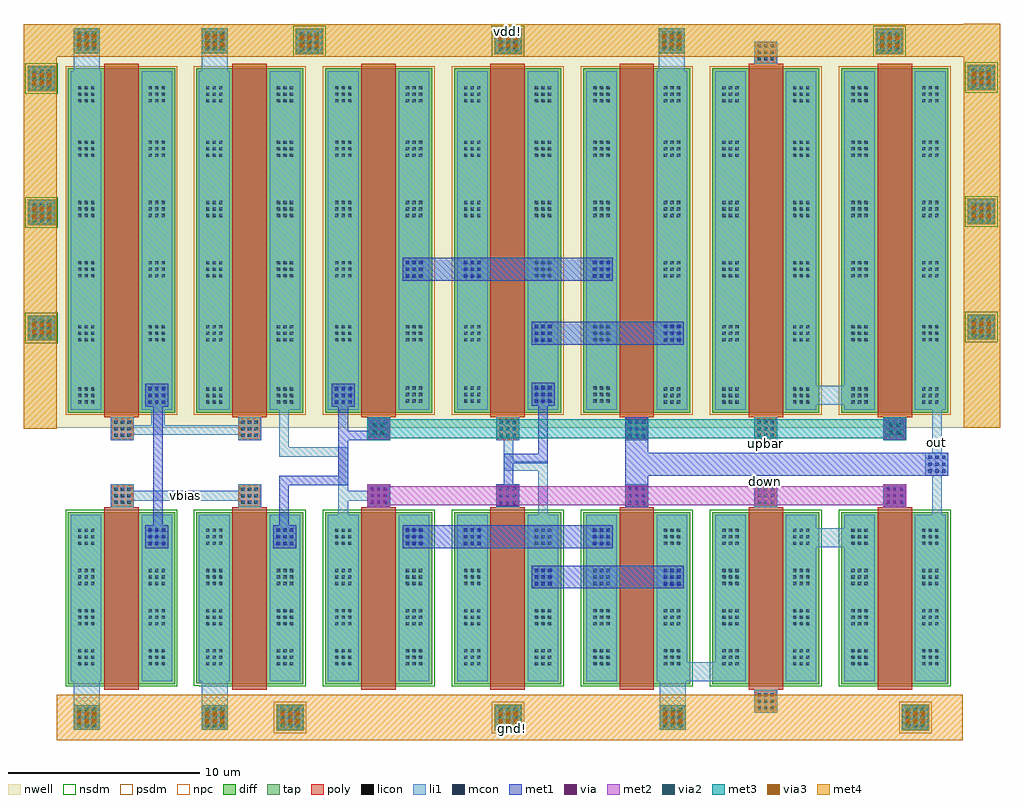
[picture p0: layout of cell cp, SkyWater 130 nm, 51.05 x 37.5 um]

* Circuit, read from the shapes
.subckt cp down gnd! out upbar vbias vdd!
XM1 n1 vbias gnd! gnd! sky130_fd_pr__nfet_01v8 w=9 l=1.8
XM2 n2 vbias gnd! gnd! sky130_fd_pr__nfet_01v8 w=9 l=1.8
XM3 n3 n4 n4 gnd! sky130_fd_pr__nfet_01v8 w=9 l=1.8
XM4 gnd! vdd! n3 gnd! sky130_fd_pr__nfet_01v8 w=9 l=1.8
XM5 gnd! out n3 gnd! sky130_fd_pr__nfet_01v8 w=9 l=1.8
XM6 n5 down gnd! gnd! sky130_fd_pr__nfet_01v8 w=9 l=1.8
XM7 out n4 n5 gnd! sky130_fd_pr__nfet_01v8 w=9 l=1.8
XM8 n1 n1 vdd! vdd! sky130_fd_pr__pfet_01v8 w=18 l=1.8
XM9 n4 n1 vdd! vdd! sky130_fd_pr__pfet_01v8 w=18 l=1.8
XM10 n6 n2 n2 vdd! sky130_fd_pr__pfet_01v8 w=18 l=1.8
XM11 vdd! gnd! n6 vdd! sky130_fd_pr__pfet_01v8 w=18 l=1.8
XM12 vdd! out n6 vdd! sky130_fd_pr__pfet_01v8 w=18 l=1.8
XM13 n7 upbar n8 vdd! sky130_fd_pr__pfet_01v8 w=18 l=1.8
XM14 out n2 n7 vdd! sky130_fd_pr__pfet_01v8 w=18 l=1.8
.ends

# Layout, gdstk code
import gdstk
lib = gdstk.Library(unit=1e-6, precision=1e-09)
def R(c, l, rs):  # rectangles x0, y0, x1, y1
    for r in rs: c.add(gdstk.rectangle(r[:2], r[2:], *l))
def A(c, l, x, y, w, h, nx, ny, dx, dy):  # array of equal rectangles
    R(c, l, [(x+i*dx, y+j*dy, x+i*dx+w, y+j*dy+h) for i in range(nx) for j in range(ny)])
nwell = (64, 20)
diff = (65, 20)
tap = (65, 44)
poly = (66, 20)
licon = (66, 44)
li1 = (67, 20)
mcon = (67, 44)
met1 = (68, 20)
via = (68, 44)
met2 = (69, 20)
via2 = (69, 44)
met3 = (70, 20)
via3 = (70, 44)
met4 = (71, 20)
nsdm = (93, 44)
psdm = (94, 20)
npc = (95, 20)

c_cp = lib.new_cell('cp')
R(c_cp, nwell, [(-4.15,-0.85,-2.45,-0.8), (-4.15,-0.8,46.9,20.3), (45,20.3,46.9,20.35)])
A(c_cp, diff, 11.6, -14.2, 5.6, 9, 5, 1, 6.75, 0)
A(c_cp, diff, 4.85, 0, 5.6, 18, 6, 1, 6.75, 0)
R(c_cp, diff, [(-1.85,-14.2,3.75,-5.2), (5.15,-14.2,10.45,-14.15), (4.85,-14.15,10.45,-5.2), (-1.85,0,3.75,18)])
R(c_cp, tap, [(9.05,-16.65,10.5,-15.25), (20.45,-16.65,21.9,-15.25), (41.75,-16.65,43.2,-15.25), (-3.95,3.75,-2.5,5.1), (45.2,3.8,46.65,5.15), (-3.95,9.8,-2.5,11.15), (45.2,9.85,46.65,11.2), (-3.95,16.8,-2.5,18.15), (45.2,16.85,46.65,18.2), (10.05,18.75,11.5,20.1), (20.45,18.75,21.9,20.1), (40.4,18.75,41.85,20.1)])
A(c_cp, poly, 6.75, -14.5, 1.8, 9.55, 6, 1, 6.75, 0)
A(c_cp, poly, 7.05, -4.95, 1.2, 1.2, 6, 2, 6.75, 3.5)
A(c_cp, poly, 6.75, -0.25, 1.8, 18.5, 6, 1, 6.75, 0)
R(c_cp, poly, [(34.05,-15.7,35.25,-14.5), (0.05,-14.5,1.85,-4.95), (0.4,-4.95,1.6,-3.75), (0.4,-1.45,1.6,-0.25), (0.05,-0.25,1.85,18.25), (34.05,18.25,35.25,19.4)])
A(c_cp, licon, 9.35, -16.375, 0.17, 0.17, 3, 3, 0.34, 0.34)
A(c_cp, licon, 20.75, -16.375, 0.17, 0.17, 3, 3, 0.34, 0.34)
A(c_cp, licon, 42.05, -16.375, 0.17, 0.17, 3, 3, 0.34, 0.34)
A(c_cp, licon, 34.225, -15.525, 0.17, 0.17, 3, 3, 0.34, 0.34)
A(c_cp, licon, -1.325, -13.225, 0.17, 0.17, 3, 3, 0.34, 0.34)
A(c_cp, licon, 2.375, -13.225, 0.17, 0.17, 3, 3, 0.34, 0.34)
A(c_cp, licon, 5.375, -13.225, 0.17, 0.17, 3, 3, 0.34, 0.34)
A(c_cp, licon, 9.075, -13.225, 0.17, 0.17, 3, 3, 0.34, 0.34)
A(c_cp, licon, 12.125, -13.225, 0.17, 0.17, 3, 3, 0.34, 0.34)
A(c_cp, licon, 15.825, -13.225, 0.17, 0.17, 3, 3, 0.34, 0.34)
A(c_cp, licon, 18.875, -13.225, 0.17, 0.17, 3, 3, 0.34, 0.34)
A(c_cp, licon, 22.575, -13.225, 0.17, 0.17, 3, 3, 0.34, 0.34)
A(c_cp, licon, 25.625, -13.225, 0.17, 0.17, 3, 3, 0.34, 0.34)
A(c_cp, licon, 29.325, -13.225, 0.17, 0.17, 3, 3, 0.34, 0.34)
A(c_cp, licon, 32.375, -13.225, 0.17, 0.17, 3, 3, 0.34, 0.34)
A(c_cp, licon, 36.075, -13.225, 0.17, 0.17, 3, 3, 0.34, 0.34)
A(c_cp, licon, 39.125, -13.225, 0.17, 0.17, 3, 3, 0.34, 0.34)
A(c_cp, licon, 42.825, -13.225, 0.17, 0.17, 3, 3, 0.34, 0.34)
A(c_cp, licon, -1.325, -11.125, 0.17, 0.17, 3, 3, 0.34, 0.34)
A(c_cp, licon, 2.375, -11.125, 0.17, 0.17, 3, 3, 0.34, 0.34)
A(c_cp, licon, 5.375, -11.125, 0.17, 0.17, 3, 3, 0.34, 0.34)
A(c_cp, licon, 9.075, -11.125, 0.17, 0.17, 3, 3, 0.34, 0.34)
A(c_cp, licon, 12.125, -11.125, 0.17, 0.17, 3, 3, 0.34, 0.34)
A(c_cp, licon, 15.825, -11.125, 0.17, 0.17, 3, 3, 0.34, 0.34)
A(c_cp, licon, 18.875, -11.125, 0.17, 0.17, 3, 3, 0.34, 0.34)
A(c_cp, licon, 22.575, -11.125, 0.17, 0.17, 3, 3, 0.34, 0.34)
A(c_cp, licon, 25.625, -11.125, 0.17, 0.17, 3, 3, 0.34, 0.34)
A(c_cp, licon, 29.325, -11.125, 0.17, 0.17, 3, 3, 0.34, 0.34)
A(c_cp, licon, 32.375, -11.125, 0.17, 0.17, 3, 3, 0.34, 0.34)
A(c_cp, licon, 36.075, -11.125, 0.17, 0.17, 3, 3, 0.34, 0.34)
A(c_cp, licon, 39.125, -11.125, 0.17, 0.17, 3, 3, 0.34, 0.34)
A(c_cp, licon, 42.825, -11.125, 0.17, 0.17, 3, 3, 0.34, 0.34)
A(c_cp, licon, -1.325, -9.025, 0.17, 0.17, 3, 3, 0.34, 0.34)
A(c_cp, licon, 2.375, -9.025, 0.17, 0.17, 3, 3, 0.34, 0.34)
A(c_cp, licon, 5.375, -9.025, 0.17, 0.17, 3, 3, 0.34, 0.34)
A(c_cp, licon, 9.075, -9.025, 0.17, 0.17, 3, 3, 0.34, 0.34)
A(c_cp, licon, 12.125, -9.025, 0.17, 0.17, 3, 3, 0.34, 0.34)
A(c_cp, licon, 15.825, -9.025, 0.17, 0.17, 3, 3, 0.34, 0.34)
A(c_cp, licon, 18.875, -9.025, 0.17, 0.17, 3, 3, 0.34, 0.34)
A(c_cp, licon, 22.575, -9.025, 0.17, 0.17, 3, 3, 0.34, 0.34)
A(c_cp, licon, 25.625, -9.025, 0.17, 0.17, 3, 3, 0.34, 0.34)
A(c_cp, licon, 29.325, -9.025, 0.17, 0.17, 3, 3, 0.34, 0.34)
A(c_cp, licon, 32.375, -9.025, 0.17, 0.17, 3, 3, 0.34, 0.34)
A(c_cp, licon, 36.075, -9.025, 0.17, 0.17, 3, 3, 0.34, 0.34)
A(c_cp, licon, 39.125, -9.025, 0.17, 0.17, 3, 3, 0.34, 0.34)
A(c_cp, licon, 42.825, -9.025, 0.17, 0.17, 3, 3, 0.34, 0.34)
A(c_cp, licon, -1.325, -6.925, 0.17, 0.17, 3, 3, 0.34, 0.34)
A(c_cp, licon, 2.375, -6.925, 0.17, 0.17, 3, 3, 0.34, 0.34)
A(c_cp, licon, 5.375, -6.925, 0.17, 0.17, 3, 3, 0.34, 0.34)
A(c_cp, licon, 9.075, -6.925, 0.17, 0.17, 3, 3, 0.34, 0.34)
A(c_cp, licon, 12.125, -6.925, 0.17, 0.17, 3, 3, 0.34, 0.34)
A(c_cp, licon, 15.825, -6.925, 0.17, 0.17, 3, 3, 0.34, 0.34)
A(c_cp, licon, 18.875, -6.925, 0.17, 0.17, 3, 3, 0.34, 0.34)
A(c_cp, licon, 22.575, -6.925, 0.17, 0.17, 3, 3, 0.34, 0.34)
A(c_cp, licon, 25.625, -6.925, 0.17, 0.17, 3, 3, 0.34, 0.34)
A(c_cp, licon, 29.325, -6.925, 0.17, 0.17, 3, 3, 0.34, 0.34)
A(c_cp, licon, 32.375, -6.925, 0.17, 0.17, 3, 3, 0.34, 0.34)
A(c_cp, licon, 36.075, -6.925, 0.17, 0.17, 3, 3, 0.34, 0.34)
A(c_cp, licon, 39.125, -6.925, 0.17, 0.17, 3, 3, 0.34, 0.34)
A(c_cp, licon, 42.825, -6.925, 0.17, 0.17, 3, 3, 0.34, 0.34)
A(c_cp, licon, 0.575, -4.775, 0.17, 0.17, 3, 3, 0.34, 0.34)
A(c_cp, licon, 7.225, -4.775, 0.17, 0.17, 3, 3, 0.34, 0.34)
A(c_cp, licon, 13.975, -4.775, 0.17, 0.17, 3, 3, 0.34, 0.34)
A(c_cp, licon, 20.725, -4.775, 0.17, 0.17, 3, 3, 0.34, 0.34)
A(c_cp, licon, 27.475, -4.775, 0.17, 0.17, 3, 3, 0.34, 0.34)
A(c_cp, licon, 34.225, -4.775, 0.17, 0.17, 3, 3, 0.34, 0.34)
A(c_cp, licon, 40.975, -4.775, 0.17, 0.17, 3, 3, 0.34, 0.34)
A(c_cp, licon, 0.575, -1.275, 0.17, 0.17, 3, 3, 0.34, 0.34)
A(c_cp, licon, 7.225, -1.275, 0.17, 0.17, 3, 3, 0.34, 0.34)
A(c_cp, licon, 13.975, -1.275, 0.17, 0.17, 3, 3, 0.34, 0.34)
A(c_cp, licon, 20.725, -1.275, 0.17, 0.17, 3, 3, 0.34, 0.34)
A(c_cp, licon, 27.475, -1.275, 0.17, 0.17, 3, 3, 0.34, 0.34)
A(c_cp, licon, 34.225, -1.275, 0.17, 0.17, 3, 3, 0.34, 0.34)
A(c_cp, licon, 40.975, -1.275, 0.17, 0.17, 3, 3, 0.34, 0.34)
A(c_cp, licon, -1.325, 0.475, 0.17, 0.17, 3, 3, 0.34, 0.34)
A(c_cp, licon, 2.375, 0.475, 0.17, 0.17, 3, 3, 0.34, 0.34)
A(c_cp, licon, 5.375, 0.475, 0.17, 0.17, 3, 3, 0.34, 0.34)
A(c_cp, licon, 9.075, 0.475, 0.17, 0.17, 3, 3, 0.34, 0.34)
A(c_cp, licon, 12.125, 0.475, 0.17, 0.17, 3, 3, 0.34, 0.34)
A(c_cp, licon, 29.325, 0.475, 0.17, 0.17, 3, 3, 0.34, 0.34)
A(c_cp, licon, 32.375, 0.475, 0.17, 0.17, 3, 3, 0.34, 0.34)
A(c_cp, licon, 36.075, 0.475, 0.17, 0.17, 3, 3, 0.34, 0.34)
A(c_cp, licon, 39.125, 0.475, 0.17, 0.17, 3, 3, 0.34, 0.34)
A(c_cp, licon, 42.825, 0.475, 0.17, 0.17, 3, 3, 0.34, 0.34)
A(c_cp, licon, 15.825, 0.525, 0.17, 0.17, 3, 3, 0.34, 0.34)
A(c_cp, licon, 18.875, 0.525, 0.17, 0.17, 3, 3, 0.34, 0.34)
A(c_cp, licon, 22.575, 0.525, 0.17, 0.17, 3, 3, 0.34, 0.34)
A(c_cp, licon, 25.625, 0.525, 0.17, 0.17, 3, 3, 0.34, 0.34)
A(c_cp, licon, -1.325, 3.725, 0.17, 0.17, 3, 3, 0.34, 0.34)
A(c_cp, licon, 2.375, 3.725, 0.17, 0.17, 3, 3, 0.34, 0.34)
A(c_cp, licon, 5.375, 3.725, 0.17, 0.17, 3, 3, 0.34, 0.34)
A(c_cp, licon, 9.075, 3.725, 0.17, 0.17, 3, 3, 0.34, 0.34)
A(c_cp, licon, 12.125, 3.725, 0.17, 0.17, 3, 3, 0.34, 0.34)
A(c_cp, licon, 15.825, 3.725, 0.17, 0.17, 3, 3, 0.34, 0.34)
A(c_cp, licon, 18.875, 3.725, 0.17, 0.17, 3, 3, 0.34, 0.34)
A(c_cp, licon, 22.575, 3.725, 0.17, 0.17, 3, 3, 0.34, 0.34)
A(c_cp, licon, 25.625, 3.725, 0.17, 0.17, 3, 3, 0.34, 0.34)
A(c_cp, licon, 29.325, 3.725, 0.17, 0.17, 3, 3, 0.34, 0.34)
A(c_cp, licon, 32.375, 3.725, 0.17, 0.17, 3, 3, 0.34, 0.34)
A(c_cp, licon, 36.075, 3.725, 0.17, 0.17, 3, 3, 0.34, 0.34)
A(c_cp, licon, 39.125, 3.725, 0.17, 0.17, 3, 3, 0.34, 0.34)
A(c_cp, licon, 42.825, 3.725, 0.17, 0.17, 3, 3, 0.34, 0.34)
A(c_cp, licon, -3.65, 3.975, 0.17, 0.17, 3, 3, 0.34, 0.34)
A(c_cp, licon, 45.5, 4.025, 0.17, 0.17, 3, 3, 0.34, 0.34)
A(c_cp, licon, -1.325, 7.075, 0.17, 0.17, 3, 3, 0.34, 0.34)
A(c_cp, licon, 2.375, 7.075, 0.17, 0.17, 3, 3, 0.34, 0.34)
A(c_cp, licon, 5.375, 7.075, 0.17, 0.17, 3, 3, 0.34, 0.34)
A(c_cp, licon, 9.075, 7.075, 0.17, 0.17, 3, 3, 0.34, 0.34)
A(c_cp, licon, 12.125, 7.075, 0.17, 0.17, 3, 3, 0.34, 0.34)
A(c_cp, licon, 15.825, 7.075, 0.17, 0.17, 3, 3, 0.34, 0.34)
A(c_cp, licon, 18.875, 7.075, 0.17, 0.17, 3, 3, 0.34, 0.34)
A(c_cp, licon, 22.575, 7.075, 0.17, 0.17, 3, 3, 0.34, 0.34)
A(c_cp, licon, 25.625, 7.075, 0.17, 0.17, 3, 3, 0.34, 0.34)
A(c_cp, licon, 29.325, 7.075, 0.17, 0.17, 3, 3, 0.34, 0.34)
A(c_cp, licon, 32.375, 7.075, 0.17, 0.17, 3, 3, 0.34, 0.34)
A(c_cp, licon, 36.075, 7.075, 0.17, 0.17, 3, 3, 0.34, 0.34)
A(c_cp, licon, 39.125, 7.075, 0.17, 0.17, 3, 3, 0.34, 0.34)
A(c_cp, licon, 42.825, 7.075, 0.17, 0.17, 3, 3, 0.34, 0.34)
A(c_cp, licon, -3.65, 10.025, 0.17, 0.17, 3, 3, 0.34, 0.34)
A(c_cp, licon, 45.5, 10.075, 0.17, 0.17, 3, 3, 0.34, 0.34)
A(c_cp, licon, -1.325, 10.225, 0.17, 0.17, 3, 3, 0.34, 0.34)
A(c_cp, licon, 2.375, 10.225, 0.17, 0.17, 3, 3, 0.34, 0.34)
A(c_cp, licon, 5.375, 10.225, 0.17, 0.17, 3, 3, 0.34, 0.34)
A(c_cp, licon, 9.075, 10.225, 0.17, 0.17, 3, 3, 0.34, 0.34)
A(c_cp, licon, 12.125, 10.225, 0.17, 0.17, 3, 3, 0.34, 0.34)
A(c_cp, licon, 15.825, 10.225, 0.17, 0.17, 3, 3, 0.34, 0.34)
A(c_cp, licon, 18.875, 10.225, 0.17, 0.17, 3, 3, 0.34, 0.34)
A(c_cp, licon, 22.575, 10.225, 0.17, 0.17, 3, 3, 0.34, 0.34)
A(c_cp, licon, 25.625, 10.225, 0.17, 0.17, 3, 3, 0.34, 0.34)
A(c_cp, licon, 29.325, 10.225, 0.17, 0.17, 3, 3, 0.34, 0.34)
A(c_cp, licon, 32.375, 10.225, 0.17, 0.17, 3, 3, 0.34, 0.34)
A(c_cp, licon, 36.075, 10.225, 0.17, 0.17, 3, 3, 0.34, 0.34)
A(c_cp, licon, 39.125, 10.225, 0.17, 0.17, 3, 3, 0.34, 0.34)
A(c_cp, licon, 42.825, 10.225, 0.17, 0.17, 3, 3, 0.34, 0.34)
A(c_cp, licon, -1.325, 13.375, 0.17, 0.17, 3, 3, 0.34, 0.34)
A(c_cp, licon, 2.375, 13.375, 0.17, 0.17, 3, 3, 0.34, 0.34)
A(c_cp, licon, 5.375, 13.375, 0.17, 0.17, 3, 3, 0.34, 0.34)
A(c_cp, licon, 9.075, 13.375, 0.17, 0.17, 3, 3, 0.34, 0.34)
A(c_cp, licon, 12.125, 13.375, 0.17, 0.17, 3, 3, 0.34, 0.34)
A(c_cp, licon, 15.825, 13.375, 0.17, 0.17, 3, 3, 0.34, 0.34)
A(c_cp, licon, 18.875, 13.375, 0.17, 0.17, 3, 3, 0.34, 0.34)
A(c_cp, licon, 22.575, 13.375, 0.17, 0.17, 3, 3, 0.34, 0.34)
A(c_cp, licon, 25.625, 13.375, 0.17, 0.17, 3, 3, 0.34, 0.34)
A(c_cp, licon, 29.325, 13.375, 0.17, 0.17, 3, 3, 0.34, 0.34)
A(c_cp, licon, 32.375, 13.375, 0.17, 0.17, 3, 3, 0.34, 0.34)
A(c_cp, licon, 36.075, 13.375, 0.17, 0.17, 3, 3, 0.34, 0.34)
A(c_cp, licon, 39.125, 13.375, 0.17, 0.17, 3, 3, 0.34, 0.34)
A(c_cp, licon, 42.825, 13.375, 0.17, 0.17, 3, 3, 0.34, 0.34)
A(c_cp, licon, -1.325, 16.225, 0.17, 0.17, 3, 3, 0.34, 0.34)
A(c_cp, licon, 2.375, 16.225, 0.17, 0.17, 3, 3, 0.34, 0.34)
A(c_cp, licon, 5.375, 16.225, 0.17, 0.17, 3, 3, 0.34, 0.34)
A(c_cp, licon, 9.075, 16.225, 0.17, 0.17, 3, 3, 0.34, 0.34)
A(c_cp, licon, 12.125, 16.225, 0.17, 0.17, 3, 3, 0.34, 0.34)
A(c_cp, licon, 15.825, 16.225, 0.17, 0.17, 3, 3, 0.34, 0.34)
A(c_cp, licon, 18.875, 16.225, 0.17, 0.17, 3, 3, 0.34, 0.34)
A(c_cp, licon, 22.575, 16.225, 0.17, 0.17, 3, 3, 0.34, 0.34)
A(c_cp, licon, 25.625, 16.225, 0.17, 0.17, 3, 3, 0.34, 0.34)
A(c_cp, licon, 29.325, 16.225, 0.17, 0.17, 3, 3, 0.34, 0.34)
A(c_cp, licon, 32.375, 16.225, 0.17, 0.17, 3, 3, 0.34, 0.34)
A(c_cp, licon, 36.075, 16.225, 0.17, 0.17, 3, 3, 0.34, 0.34)
A(c_cp, licon, 39.125, 16.225, 0.17, 0.17, 3, 3, 0.34, 0.34)
A(c_cp, licon, 42.825, 16.225, 0.17, 0.17, 3, 3, 0.34, 0.34)
A(c_cp, licon, -3.65, 17.025, 0.17, 0.17, 3, 3, 0.34, 0.34)
A(c_cp, licon, 45.5, 17.075, 0.17, 0.17, 3, 3, 0.34, 0.34)
A(c_cp, licon, 34.225, 18.425, 0.17, 0.17, 3, 3, 0.34, 0.34)
A(c_cp, licon, 10.35, 18.975, 0.17, 0.17, 3, 3, 0.34, 0.34)
A(c_cp, licon, 20.75, 18.975, 0.17, 0.17, 3, 3, 0.34, 0.34)
A(c_cp, licon, 40.7, 18.975, 0.17, 0.17, 3, 3, 0.34, 0.34)
A(c_cp, li1, 20.55, -4.95, 1.2, 1.2, 4, 1, 6.75, 0)
A(c_cp, li1, 13.8, -1.45, 1.2, 1.2, 5, 1, 6.75, 0)
R(c_cp, li1, [(-1.55,-16.6,-0.2,-14.05), (5.15,-16.6,6.5,-14.05), (9.1,-16.6,10.45,-15.3), (20.5,-16.6,21.85,-15.3), (29.1,-16.6,30.45,-14.05), (41.8,-16.6,43.15,-15.3), (34.05,-15.7,35.25,-14.5), (-1.7,-14.05,-0.1,-5.35), (2,-14.05,3.6,-5.35), (5,-14.05,6.6,-5.35), (8.7,-14.05,10.3,-5.35), (11.75,-14.05,13.35,-5.35), (15.45,-14.05,17.05,-5.35), (18.5,-14.05,20.1,-5.35), (22.2,-14.05,23.8,-5.35), (25.25,-14.05,26.85,-5.35), (28.95,-14.05,33.6,-13.05), (35.7,-14.05,37.3,-7.05), (38.75,-14.05,40.35,-7.05), (42.45,-14.05,44.05,-5.35), (28.95,-13.05,30.55,-5.35), (32,-13.05,33.6,-5.35), (35.7,-7.05,40.35,-6.05), (35.7,-6.05,37.3,-5.35), (38.75,-6.05,40.35,-5.35), (12.3,-5.35,12.8,-4.6), (22.75,-5.35,23.25,-3.05), (43.35,-5.35,43.85,-3.3), (0.4,-4.95,1.6,-4.6), (7.05,-4.95,8.25,-4.6), (13.8,-4.95,15,-4.6), (0.4,-4.6,8.25,-4.1), (12.3,-4.6,15,-4.1), (0.4,-4.1,1.6,-3.75), (7.05,-4.1,8.25,-3.75), (12.3,-4.1,12.8,-2.3), (13.8,-4.1,15,-3.75), (34.15,-3.75,35.15,-3.4), (43,-3.3,44.2,-2.1), (20.95,-3.05,23.25,-2.55), (20.95,-2.55,21.45,-1.45), (9.2,-2.3,12.8,-1.8), (43.35,-2.1,43.85,0.15), (9.2,-1.8,9.7,0.15), (34.15,-1.8,35.15,-1.45), (0.4,-1.45,1.6,-1.15), (7.05,-1.45,8.25,-1.15), (0.4,-1.15,8.25,-0.65), (0.4,-0.65,1.6,-0.25), (2.5,-0.65,3.2,0.15), (7.05,-0.65,8.25,-0.25), (-1.7,0.15,-0.1,17.85), (2,0.15,3.6,17.85), (5,0.15,6.6,17.85), (8.7,0.15,10.3,17.85), (11.75,0.15,13.35,17.85), (15.45,0.15,17.05,17.85), (18.5,0.15,20.1,17.85), (22.2,0.15,23.8,17.85), (25.25,0.15,26.85,17.85), (28.95,0.15,30.55,17.85), (32,0.15,33.6,17.85), (35.7,0.15,37.3,0.4), (38.75,0.15,40.35,0.4), (42.45,0.15,44.05,17.85), (35.7,0.4,40.35,1.4), (35.7,1.4,37.3,17.85), (38.75,1.4,40.35,17.85), (-3.9,3.8,-2.55,5.05), (45.25,3.85,46.6,5.1), (-3.9,9.85,-2.55,11.1), (45.25,9.9,46.6,11.15), (-3.9,16.85,-2.55,18.1), (45.25,16.9,46.6,18.15), (-1.55,17.85,-0.2,20.1), (5.15,17.85,6.5,20.1), (29.05,17.85,30.4,20.1), (34.05,18.25,35.25,19.4), (10.1,18.8,11.45,20.05), (20.5,18.8,21.85,20.05), (40.45,18.8,41.8,20.05)])
A(c_cp, mcon, -1.32, -16.395, 0.17, 0.17, 3, 3, 0.36, 0.36)
A(c_cp, mcon, 5.38, -16.395, 0.17, 0.17, 3, 3, 0.36, 0.36)
A(c_cp, mcon, 9.33, -16.395, 0.17, 0.17, 3, 3, 0.36, 0.36)
A(c_cp, mcon, 20.73, -16.395, 0.17, 0.17, 3, 3, 0.36, 0.36)
A(c_cp, mcon, 29.33, -16.395, 0.17, 0.17, 3, 3, 0.36, 0.36)
A(c_cp, mcon, 42.03, -16.395, 0.17, 0.17, 3, 3, 0.36, 0.36)
A(c_cp, mcon, 22.555, -9.045, 0.17, 0.17, 3, 3, 0.36, 0.36)
A(c_cp, mcon, 29.305, -9.045, 0.17, 0.17, 3, 3, 0.36, 0.36)
A(c_cp, mcon, 2.355, -6.945, 0.17, 0.17, 3, 3, 0.36, 0.36)
A(c_cp, mcon, 9.055, -6.945, 0.17, 0.17, 3, 3, 0.36, 0.36)
A(c_cp, mcon, 15.805, -6.945, 0.17, 0.17, 3, 3, 0.36, 0.36)
A(c_cp, mcon, 18.855, -6.945, 0.17, 0.17, 3, 3, 0.36, 0.36)
A(c_cp, mcon, 25.605, -6.945, 0.17, 0.17, 3, 3, 0.36, 0.36)
A(c_cp, mcon, 13.955, -4.795, 0.17, 0.17, 3, 3, 0.36, 0.36)
A(c_cp, mcon, 20.705, -4.795, 0.17, 0.17, 3, 3, 0.36, 0.36)
A(c_cp, mcon, 27.455, -4.795, 0.17, 0.17, 3, 3, 0.36, 0.36)
A(c_cp, mcon, 40.955, -4.795, 0.17, 0.17, 3, 3, 0.36, 0.36)
A(c_cp, mcon, 43.155, -3.145, 0.17, 0.17, 3, 3, 0.36, 0.36)
A(c_cp, mcon, 13.955, -1.295, 0.17, 0.17, 3, 3, 0.36, 0.36)
A(c_cp, mcon, 27.455, -1.295, 0.17, 0.17, 3, 3, 0.36, 0.36)
A(c_cp, mcon, 40.955, -1.295, 0.17, 0.17, 3, 3, 0.36, 0.36)
A(c_cp, mcon, 2.355, 0.455, 0.17, 0.17, 3, 3, 0.36, 0.36)
A(c_cp, mcon, 12.105, 0.455, 0.17, 0.17, 3, 3, 0.36, 0.36)
A(c_cp, mcon, 22.555, 0.505, 0.17, 0.17, 3, 3, 0.36, 0.36)
A(c_cp, mcon, 22.555, 3.705, 0.17, 0.17, 3, 3, 0.36, 0.36)
A(c_cp, mcon, 29.305, 3.705, 0.17, 0.17, 3, 3, 0.36, 0.36)
A(c_cp, mcon, -3.67, 3.955, 0.17, 0.17, 3, 3, 0.36, 0.36)
A(c_cp, mcon, 45.48, 4.005, 0.17, 0.17, 3, 3, 0.36, 0.36)
A(c_cp, mcon, 15.805, 7.055, 0.17, 0.17, 3, 3, 0.36, 0.36)
A(c_cp, mcon, 18.855, 7.055, 0.17, 0.17, 3, 3, 0.36, 0.36)
A(c_cp, mcon, 25.605, 7.055, 0.17, 0.17, 3, 3, 0.36, 0.36)
A(c_cp, mcon, -3.67, 10.005, 0.17, 0.17, 3, 3, 0.36, 0.36)
A(c_cp, mcon, 45.48, 10.055, 0.17, 0.17, 3, 3, 0.36, 0.36)
A(c_cp, mcon, -3.67, 17.005, 0.17, 0.17, 3, 3, 0.36, 0.36)
A(c_cp, mcon, 45.48, 17.055, 0.17, 0.17, 3, 3, 0.36, 0.36)
A(c_cp, mcon, 10.33, 18.955, 0.17, 0.17, 3, 3, 0.36, 0.36)
A(c_cp, mcon, 20.73, 18.955, 0.17, 0.17, 3, 3, 0.36, 0.36)
A(c_cp, mcon, 40.68, 18.955, 0.17, 0.17, 3, 3, 0.36, 0.36)
A(c_cp, mcon, -1.32, 19.005, 0.17, 0.17, 3, 3, 0.36, 0.36)
A(c_cp, mcon, 5.38, 19.005, 0.17, 0.17, 3, 3, 0.36, 0.36)
A(c_cp, mcon, 29.28, 19.005, 0.17, 0.17, 3, 3, 0.36, 0.36)
R(c_cp, met1, [(-1.55,-16.6,-0.2,-15.3), (5.15,-16.6,6.5,-15.3), (9.1,-16.6,10.45,-15.3), (20.5,-16.6,21.85,-15.3), (29.1,-16.6,30.45,-15.3), (41.8,-16.6,43.15,-15.3), (22.4,-9.2,30.35,-8), (2.2,-7.1,3.4,-5.9), (8.9,-7.1,10.1,-5.9), (15.65,-7.1,26.65,-5.9), (2.6,-5.9,3.1,0.3), (9.2,-5.9,9.7,-3.8), (13.8,-4.95,15,-3.75), (27.3,-4.95,28.5,-3.3), (40.8,-4.95,42,-3.75), (20.55,-4.9,21.75,-3.75), (9.2,-3.8,12.8,-3.3), (20.95,-3.75,21.45,-2.65), (12.3,-3.3,12.8,-1.45), (27.3,-3.3,44.2,-2.1), (20.95,-2.65,23.25,-2.15), (22.75,-2.15,23.25,0.35), (27.3,-2.1,28.5,-0.25), (12.3,-1.45,15,-0.95), (40.8,-1.45,42,-0.25), (12.3,-0.95,12.8,0.3), (13.8,-0.95,15,-0.25), (2.2,0.3,3.4,1.5), (11.95,0.3,13.15,1.5), (22.4,0.35,23.6,1.55), (22.4,3.55,30.35,4.75), (-3.9,3.8,-2.55,5.05), (45.25,3.85,46.6,5.1), (15.65,6.9,26.65,8.1), (-3.9,9.85,-2.55,11.1), (45.25,9.9,46.6,11.15), (-3.9,16.85,-2.55,18.1), (45.25,16.9,46.6,18.15), (-1.55,18.8,-0.2,20.1), (5.15,18.8,6.5,20.1), (10.1,18.8,11.45,20.05), (20.5,18.8,21.85,20.05), (29.05,18.8,30.4,20.1), (40.45,18.8,41.8,20.05)])
A(c_cp, via, -1.27, -16.345, 0.15, 0.15, 3, 3, 0.32, 0.32)
A(c_cp, via, 5.43, -16.345, 0.15, 0.15, 3, 3, 0.32, 0.32)
A(c_cp, via, 9.38, -16.345, 0.15, 0.15, 3, 3, 0.32, 0.32)
A(c_cp, via, 20.78, -16.345, 0.15, 0.15, 3, 3, 0.32, 0.32)
A(c_cp, via, 29.38, -16.345, 0.15, 0.15, 3, 3, 0.32, 0.32)
A(c_cp, via, 42.08, -16.345, 0.15, 0.15, 3, 3, 0.32, 0.32)
A(c_cp, via, 14.005, -4.745, 0.15, 0.15, 3, 3, 0.32, 0.32)
A(c_cp, via, 41.005, -4.745, 0.15, 0.15, 3, 3, 0.32, 0.32)
A(c_cp, via, 14.005, -1.245, 0.15, 0.15, 3, 3, 0.32, 0.32)
A(c_cp, via, 41.005, -1.245, 0.15, 0.15, 3, 3, 0.32, 0.32)
A(c_cp, via, -3.62, 4.005, 0.15, 0.15, 3, 3, 0.32, 0.32)
A(c_cp, via, 45.53, 4.055, 0.15, 0.15, 3, 3, 0.32, 0.32)
A(c_cp, via, -3.62, 10.055, 0.15, 0.15, 3, 3, 0.32, 0.32)
A(c_cp, via, 45.53, 10.105, 0.15, 0.15, 3, 3, 0.32, 0.32)
A(c_cp, via, -3.62, 17.055, 0.15, 0.15, 3, 3, 0.32, 0.32)
A(c_cp, via, 45.53, 17.105, 0.15, 0.15, 3, 3, 0.32, 0.32)
A(c_cp, via, 10.38, 19.005, 0.15, 0.15, 3, 3, 0.32, 0.32)
A(c_cp, via, 20.78, 19.005, 0.15, 0.15, 3, 3, 0.32, 0.32)
A(c_cp, via, 40.73, 19.005, 0.15, 0.15, 3, 3, 0.32, 0.32)
A(c_cp, via, -1.27, 19.055, 0.15, 0.15, 3, 3, 0.32, 0.32)
A(c_cp, via, 5.43, 19.055, 0.15, 0.15, 3, 3, 0.32, 0.32)
A(c_cp, via, 29.33, 19.055, 0.15, 0.15, 3, 3, 0.32, 0.32)
R(c_cp, met2, [(-1.55,-16.6,-0.2,-15.3), (5.15,-16.6,6.5,-15.3), (9.1,-16.6,10.45,-15.3), (20.5,-16.6,21.85,-15.3), (29.1,-16.6,30.45,-15.3), (41.8,-16.6,43.15,-15.3), (13.8,-4.95,15,-4.85), (40.8,-4.95,42,-4.85), (13.8,-4.85,42,-3.85), (13.8,-3.85,15,-3.75), (40.8,-3.85,42,-3.75), (13.8,-1.45,15,-0.25), (40.8,-1.45,42,-0.25), (-3.9,3.8,-2.55,5.05), (45.25,3.85,46.6,5.1), (-3.9,9.85,-2.55,11.1), (45.25,9.9,46.6,11.15), (-3.9,16.85,-2.55,18.1), (45.25,16.9,46.6,18.15), (-1.55,18.8,-0.2,20.1), (5.15,18.8,6.5,20.1), (10.1,18.8,11.45,20.05), (20.5,18.8,21.85,20.05), (29.05,18.8,30.4,20.1), (40.45,18.8,41.8,20.05)])
A(c_cp, via2, -1.375, -16.45, 0.2, 0.2, 3, 3, 0.4, 0.4)
A(c_cp, via2, 5.325, -16.45, 0.2, 0.2, 3, 3, 0.4, 0.4)
A(c_cp, via2, 9.275, -16.45, 0.2, 0.2, 3, 3, 0.4, 0.4)
A(c_cp, via2, 20.675, -16.45, 0.2, 0.2, 3, 3, 0.4, 0.4)
A(c_cp, via2, 29.275, -16.45, 0.2, 0.2, 3, 3, 0.4, 0.4)
A(c_cp, via2, 41.975, -16.45, 0.2, 0.2, 3, 3, 0.4, 0.4)
A(c_cp, via2, -3.725, 3.9, 0.2, 0.2, 3, 3, 0.4, 0.4)
A(c_cp, via2, 45.425, 3.95, 0.2, 0.2, 3, 3, 0.4, 0.4)
A(c_cp, via2, -3.725, 9.95, 0.2, 0.2, 3, 3, 0.4, 0.4)
A(c_cp, via2, 45.425, 10, 0.2, 0.2, 3, 3, 0.4, 0.4)
A(c_cp, via2, -3.725, 16.95, 0.2, 0.2, 3, 3, 0.4, 0.4)
A(c_cp, via2, 45.425, 17, 0.2, 0.2, 3, 3, 0.4, 0.4)
A(c_cp, via2, 10.275, 18.9, 0.2, 0.2, 3, 3, 0.4, 0.4)
A(c_cp, via2, 20.675, 18.9, 0.2, 0.2, 3, 3, 0.4, 0.4)
A(c_cp, via2, 40.625, 18.9, 0.2, 0.2, 3, 3, 0.4, 0.4)
A(c_cp, via2, -1.375, 18.95, 0.2, 0.2, 3, 3, 0.4, 0.4)
A(c_cp, via2, 5.325, 18.95, 0.2, 0.2, 3, 3, 0.4, 0.4)
A(c_cp, via2, 29.225, 18.95, 0.2, 0.2, 3, 3, 0.4, 0.4)
R(c_cp, via2, [(14.1,-1.15,14.3,-0.95), (14.5,-1.15,14.7,-0.95), (41.1,-1.15,41.3,-0.95), (41.5,-1.15,41.7,-0.95), (14.1,-0.75,14.3,-0.55), (14.5,-0.75,14.7,-0.55), (41.1,-0.75,41.3,-0.55), (41.5,-0.75,41.7,-0.55)])
R(c_cp, met3, [(-1.55,-16.6,-0.2,-15.3), (5.15,-16.6,6.5,-15.3), (9.1,-16.6,10.45,-15.3), (20.5,-16.6,21.85,-15.3), (29.1,-16.6,30.45,-15.3), (41.8,-16.6,43.15,-15.3), (13.8,-1.45,15,-1.35), (40.8,-1.45,42,-1.35), (13.8,-1.35,42,-0.35), (13.8,-0.35,15,-0.25), (40.8,-0.35,42,-0.25), (-3.9,3.8,-2.55,5.05), (45.25,3.85,46.6,5.1), (-3.9,9.85,-2.55,11.1), (45.25,9.9,46.6,11.15), (-3.9,16.85,-2.55,18.1), (45.25,16.9,46.6,18.15), (-1.55,18.8,-0.2,20.1), (5.15,18.8,6.5,20.1), (10.1,18.8,11.45,20.05), (20.5,18.8,21.85,20.05), (29.05,18.8,30.4,20.1), (40.45,18.8,41.8,20.05)])
A(c_cp, via3, -1.375, -16.25, 0.2, 0.2, 3, 2, 0.4, 0.4)
A(c_cp, via3, 5.325, -16.25, 0.2, 0.2, 3, 2, 0.4, 0.4)
A(c_cp, via3, 9.275, -16.25, 0.2, 0.2, 3, 2, 0.4, 0.4)
A(c_cp, via3, 20.675, -16.25, 0.2, 0.2, 3, 2, 0.4, 0.4)
A(c_cp, via3, 29.275, -16.25, 0.2, 0.2, 3, 2, 0.4, 0.4)
A(c_cp, via3, 41.975, -16.25, 0.2, 0.2, 3, 2, 0.4, 0.4)
A(c_cp, via3, -3.725, 4.1, 0.2, 0.2, 3, 2, 0.4, 0.4)
A(c_cp, via3, 45.425, 4.15, 0.2, 0.2, 3, 2, 0.4, 0.4)
A(c_cp, via3, -3.725, 10.15, 0.2, 0.2, 3, 2, 0.4, 0.4)
A(c_cp, via3, 45.425, 10.2, 0.2, 0.2, 3, 2, 0.4, 0.4)
A(c_cp, via3, -3.725, 17.15, 0.2, 0.2, 3, 2, 0.4, 0.4)
A(c_cp, via3, 45.425, 17.2, 0.2, 0.2, 3, 2, 0.4, 0.4)
A(c_cp, via3, 10.275, 19.1, 0.2, 0.2, 3, 2, 0.4, 0.4)
A(c_cp, via3, 20.675, 19.1, 0.2, 0.2, 3, 2, 0.4, 0.4)
A(c_cp, via3, 40.625, 19.1, 0.2, 0.2, 3, 2, 0.4, 0.4)
A(c_cp, via3, -1.375, 19.15, 0.2, 0.2, 3, 2, 0.4, 0.4)
A(c_cp, via3, 5.325, 19.15, 0.2, 0.2, 3, 2, 0.4, 0.4)
A(c_cp, via3, 29.225, 19.15, 0.2, 0.2, 3, 2, 0.4, 0.4)
R(c_cp, met4, [(-2.45,-17.15,44.95,-14.75), (-4.15,-0.85,-2.45,18.6), (45,-0.8,46.9,18.6), (-4.15,18.6,46.9,20.3), (45,20.3,46.9,20.35)])
A(c_cp, nsdm, 11.475, -14.325, 5.85, 9.25, 5, 1, 6.75, 0)
R(c_cp, nsdm, [(-1.975,-14.325,3.875,-5.075), (5.025,-14.325,10.575,-14.275), (4.725,-14.275,10.575,-5.075), (-4.075,3.625,-2.375,5.225), (45.075,3.675,46.775,5.275), (-4.075,9.675,-2.375,11.275), (45.075,9.725,46.775,11.325), (-4.075,16.675,-2.375,18.275), (45.075,16.725,46.775,18.325), (9.925,18.625,11.625,20.225), (20.325,18.625,22.025,20.225), (40.275,18.625,41.975,20.225)])
A(c_cp, psdm, 4.725, -0.125, 5.85, 18.25, 6, 1, 6.75, 0)
R(c_cp, psdm, [(8.925,-16.775,10.625,-15.125), (20.325,-16.775,22.025,-15.125), (41.625,-16.775,43.325,-15.125), (-1.975,-0.125,3.875,18.125)])
A(c_cp, npc, 7.125, -4.875, 1.05, 1.05, 6, 2, 6.75, 3.5)
R(c_cp, npc, [(34.125,-15.625,35.175,-14.575), (0.475,-4.875,1.525,-3.825), (0.475,-1.375,1.525,-0.325), (34.125,18.325,35.175,19.375)])
c_cp.add(gdstk.Label('vbias', (4.3,-4.35), layer=67, texttype=5))
c_cp.add(gdstk.Label('vdd!', (21.15,19.95), layer=67, texttype=5))
c_cp.add(gdstk.Label('gnd!', (21.4,-16.5), layer=67, texttype=5))
c_cp.add(gdstk.Label('out', (43.6,-1.55), layer=67, texttype=5))
c_cp.add(gdstk.Label('down', (34.65,-3.6), layer=67, texttype=5))
c_cp.add(gdstk.Label('upbar', (34.65,-1.6), layer=67, texttype=5))

lib.write_gds('cp.gds')
